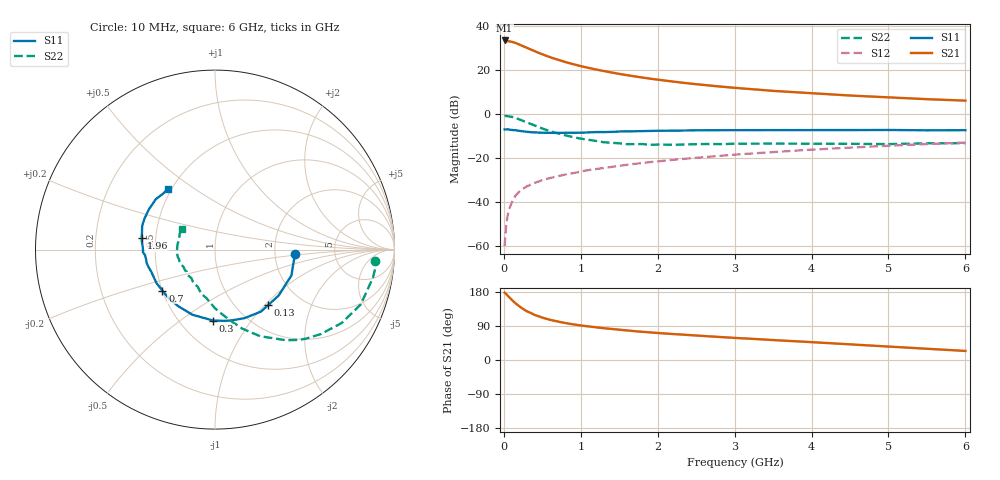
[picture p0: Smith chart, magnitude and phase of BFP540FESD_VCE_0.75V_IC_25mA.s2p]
! Infineon Technologies  Discrete & RF Semiconductors
! BFP540FESD
! VCE = 0.75 V,  IC =  25 mA
! Common Emitter S-Parameters:  Nov 2015
# GHz  S  MA  R  50
!  f  S11  S21  S12  S22
! GHz  MAG  ANG  MAG  ANG  MAG  ANG  MAG  ANG
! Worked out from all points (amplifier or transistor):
!   210 points, 10 MHz to 6 GHz, reference 50 ohm
!   highest |S21| = 33.4 dB at 10 MHz (marker M1)
!   |S21| within 3 dB of that: start of sweep to 277.3 MHz
!   unconditionally stable (mu >= 1): start of sweep to 16.83 MHz; 1.505 GHz to end of sweep
!   at 185 MHz: K = 0.36, MSG = 33.8 dB, |S12| = -35.8 dB
!   at 1.52 GHz: K = 1.00, MAG = 20.4 dB, |S12| = -23.5 dB
!   at 6 GHz: K = 1.16, MAG = 7.1 dB, |S12| = -13.0 dB
!   S11 on the Smith chart (normalised r, x): 10 MHz: 2.60, -0.17; 130 MHz: 1.38, -1.05; 300 MHz: 0.72, -0.67; 700 MHz: 0.50, -0.26; 1.96 GHz: 0.42, +0.06; 6 GHz: 0.48, +0.40
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0.01  0.4469 -3.3  46.55 177.7  0.001 91.1  0.8953 -4.0
0.02  0.443 -9.3  45.24 176.1  0.0018 97.2  0.9057 -3.5
0.05  0.4496 -18.6  45.31 169.8  0.005 84.9  0.8941 -10.0
0.1  0.4374 -35.8  43.55 159.3  0.0096 80.4  0.8678 -20.6
0.13  0.428 -46.4  41.93 153.8  0.0122 75.9  0.8338 -26.2
0.15  0.43 -53.5  41.08 149.9  0.0139 73.8  0.8158 -30.1
0.2  0.4158 -66.8  37.77 141.6  0.0172 69.2  0.7551 -38.5
0.26  0.4011 -81.8  33.99 133.5  0.0206 67.4  0.6868 -47.1
0.3  0.3953 -91.5  31.66 128.5  0.0228 65.3  0.6407 -52.0
0.4  0.3842 -109.1  26.51 118.9  0.0273 61.6  0.5451 -62.4
0.5  0.376 -123.0  22.54 111.6  0.0314 61.6  0.4657 -71.0
0.6  0.3748 -133.1  19.37 106.0  0.0352 61.0  0.4067 -77.5
0.7  0.3716 -142.1  17.01 101.4  0.0386 61.6  0.3637 -83.5
0.8  0.3755 -149.7  15.03 97.4  0.0424 60.9  0.3271 -90.0
1.02  0.3767 -161.3  11.95 90.6  0.0502 60.1  0.2718 -101.0
1.5  0.4014 -177.8  8.101 79.7  0.0665 59.4  0.2165 -124.9
1.96  0.4137 171.2  6.124 71.9  0.0827 57.9  0.2012 -143.8
2.02  0.4156 169.8  5.929 71.0  0.0845 57.7  0.2024 -145.7
3.1  0.4291 155.2  3.798 57.3  0.1226 52.3  0.2112 -169.1
4.1  0.4308 147.1  2.875 45.9  0.1583 45.7  0.2111 176.6
5.1  0.4314 138.3  2.337 34.3  0.1938 37.4  0.2086 162.4
6  0.4278 127.4  2.007 23.9  0.225 29.6  0.2182 148.4
